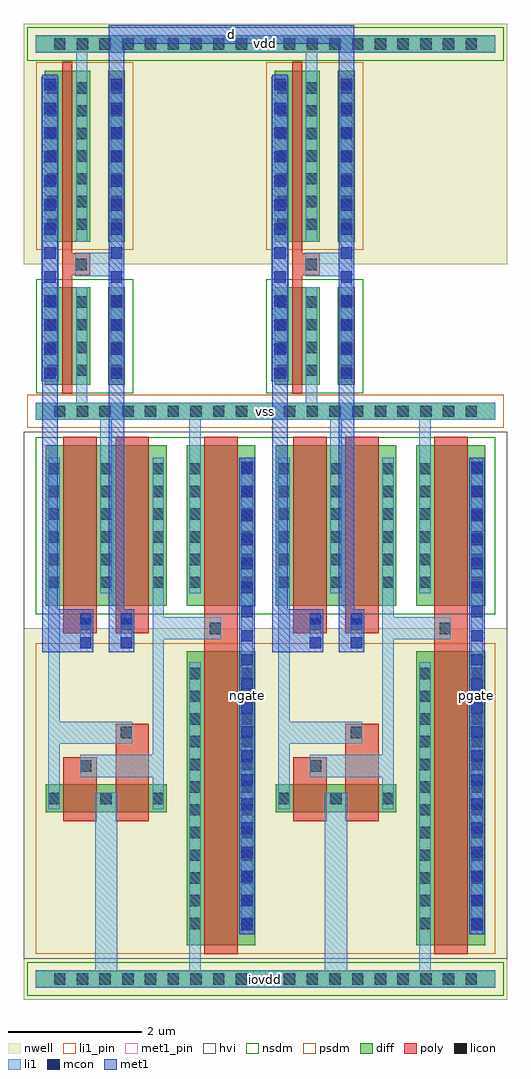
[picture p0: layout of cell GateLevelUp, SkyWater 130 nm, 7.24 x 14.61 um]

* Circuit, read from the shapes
.subckt GateLevelUp d iovdd ngate pgate vdd vss
XM1 vss d n1 VSUBS sky130_fd_pr__nfet_01v8 w=1.46 l=0.15
XM2 vss n1 n2 VSUBS sky130_fd_pr__nfet_g5v0d10v5 w=2.4 l=0.5
XM3 n3 d vss VSUBS sky130_fd_pr__nfet_g5v0d10v5 w=2.4 l=0.5
XM4 ngate n3 vss VSUBS sky130_fd_pr__nfet_g5v0d10v5 w=2.4 l=0.5
XM5 vss d n4 VSUBS sky130_fd_pr__nfet_01v8 w=1.46 l=0.15
XM6 vss n4 n5 VSUBS sky130_fd_pr__nfet_g5v0d10v5 w=2.4 l=0.5
XM7 n6 d vss VSUBS sky130_fd_pr__nfet_g5v0d10v5 w=2.4 l=0.5
XM8 pgate n6 vss VSUBS sky130_fd_pr__nfet_g5v0d10v5 w=2.4 l=0.5
XM9 vdd d n1 n7 sky130_fd_pr__pfet_01v8 w=2.56 l=0.15
XM10 iovdd n3 n2 n8 sky130_fd_pr__pfet_g5v0d10v5 w=0.42 l=0.5
XM11 n3 n2 iovdd n8 sky130_fd_pr__pfet_g5v0d10v5 w=0.42 l=0.5
XM12 ngate n3 iovdd n8 sky130_fd_pr__pfet_g5v0d10v5 w=4.4 l=0.5
XM13 vdd d n4 n7 sky130_fd_pr__pfet_01v8 w=2.56 l=0.15
XM14 iovdd n6 n5 n8 sky130_fd_pr__pfet_g5v0d10v5 w=0.42 l=0.5
XM15 n6 n5 iovdd n8 sky130_fd_pr__pfet_g5v0d10v5 w=0.42 l=0.5
XM16 pgate n6 iovdd n8 sky130_fd_pr__pfet_g5v0d10v5 w=4.4 l=0.5
.ends

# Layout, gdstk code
import gdstk
lib = gdstk.Library(unit=1e-6, precision=1e-09)
def R(c, l, rs):  # rectangles x0, y0, x1, y1
    for r in rs: c.add(gdstk.rectangle(r[:2], r[2:], *l))
def A(c, l, x, y, w, h, nx, ny, dx, dy):  # array of equal rectangles
    R(c, l, [(x+i*dx, y+j*dy, x+i*dx+w, y+j*dy+h) for i in range(nx) for j in range(ny)])
def P(c, l, *ps):  # polygons
    for p in ps: c.add(gdstk.Polygon(p, *l))
nwell = (64, 20)
diff = (65, 20)
poly = (66, 20)
licon = (66, 44)
li1_pin = (67, 16)
li1 = (67, 20)
mcon = (67, 44)
met1_pin = (68, 16)
met1 = (68, 20)
hvi = (75, 20)
nsdm = (93, 44)
psdm = (94, 20)

levelup = lib.new_cell('LevelUp')
R(levelup, nwell, [(-0.18,-0.305,3.62,5.25), (-0.18,10.7,3.62,14.305)])
R(levelup, diff, [(0,-0.125,3.44,0.125), (2.26,0.505,3.29,4.905), (0.15,2.495,1.96,2.915), (0.15,5.59,1.18,7.99), (1.09,5.59,1.8,7.99), (1.71,5.59,1.96,7.99), (2.26,5.59,3.29,7.99), (0,8.375,3.44,8.625), (0.135,8.895,0.815,10.355), (1.085,8.895,1.335,10.355), (0.135,11.04,0.815,13.6), (1.085,11.04,1.335,13.6), (0,13.875,3.44,14.125)])
R(levelup, poly, [(2.525,0.375,3.025,8.12), (0.415,2.365,0.915,3.325), (0.415,2.365,0.915,3.045), (1.195,2.365,1.695,3.825), (1.195,3.555,1.525,3.825), (0.415,5.18,0.915,8.12), (0.585,5.18,0.915,5.45), (1.195,5.18,1.525,5.45), (1.195,5.18,1.695,8.12), (0.415,5.46,0.915,8.12), (1.195,5.46,1.695,8.12)])
P(levelup, poly, [(0.4,8.765),(0.4,13.73),(0.55,13.73),(0.55,10.865),(0.815,10.865),(0.815,10.535),(0.55,10.535),(0.55,8.765)])
A(levelup, licon, 0.275, -0.085, 0.17, 0.17, 9, 2, 0.34, 8.5)
A(levelup, licon, 2.3, 0.75, 0.17, 0.17, 1, 12, 0, 0.34)
A(levelup, licon, 3.08, 0.75, 0.17, 0.17, 1, 12, 0, 0.34)
A(levelup, licon, 0.19, 2.62, 0.17, 0.17, 3, 2, 0.78, 3.235)
A(levelup, licon, 2.3, 5.855, 0.17, 0.17, 1, 6, 0, 0.34)
A(levelup, licon, 3.08, 5.855, 0.17, 0.17, 1, 6, 0, 0.34)
A(levelup, licon, 0.19, 6.195, 0.17, 0.17, 3, 5, 0.78, 0.34)
A(levelup, licon, 0.175, 9.03, 0.17, 0.17, 1, 4, 0, 0.34)
A(levelup, licon, 0.605, 9.03, 0.17, 0.17, 1, 4, 0, 0.34)
A(levelup, licon, 1.125, 9.03, 0.17, 0.17, 1, 4, 0, 0.34)
A(levelup, licon, 0.175, 11.215, 0.17, 0.17, 1, 7, 0, 0.34)
A(levelup, licon, 0.605, 11.215, 0.17, 0.17, 1, 7, 0, 0.34)
A(levelup, licon, 1.125, 11.215, 0.17, 0.17, 1, 7, 0, 0.34)
A(levelup, licon, 0.275, 13.915, 0.17, 0.17, 9, 1, 0.34, 0)
R(levelup, licon, [(0.665,3.105,0.835,3.275), (1.275,3.605,1.445,3.775), (2.605,5.165,2.775,5.335), (0.665,5.23,0.835,5.4), (1.275,5.23,1.445,5.4), (0.595,10.615,0.765,10.785)])
R(levelup, li1_pin, [(0,-0.13,3.44,0.13), (0,8.37,3.44,8.63), (0,13.87,3.44,14.13)])
R(levelup, li1, [(3.08,0.67,3.25,7.805), (0.665,3.025,0.835,3.355), (1.275,3.525,1.445,3.855), (0.665,4.95,0.835,5.48), (1.275,4.95,1.445,5.48), (1.275,5.15,1.445,5.48), (0.085,8.95,0.345,13.505)])
P(levelup, li1, [(0.605,11.04),(0.605,13.87),(0,13.87),(0,14.13),(3.44,14.13),(3.44,13.87),(0.775,13.87),(0.775,11.04)],
  [(0.97,5.775),(0.97,8.37),(0,8.37),(0,8.63),(0.605,8.63),(0.605,10.355),(0.775,10.355),(0.775,8.63),(3.44,8.63),(3.44,8.37),(2.47,8.37),(2.47,5.775),(2.3,5.775),(2.3,8.37),(1.14,8.37),(1.14,5.775)],
  [(1.125,8.95),(1.125,10.525),(0.595,10.525),(0.595,10.87),(1.125,10.87),(1.125,13.505),(1.295,13.505),(1.295,8.95)],
  [(0.19,2.54),(0.19,7.805),(0.36,7.805),(0.36,3.855),(1.445,3.855),(1.445,3.525),(0.36,3.525),(0.36,2.54)],
  [(0,-0.13),(0,0.13),(0.89,0.13),(0.89,2.79),(1.22,2.79),(1.22,0.13),(2.3,0.13),(2.3,4.74),(2.47,4.74),(2.47,0.13),(3.44,0.13),(3.44,-0.13)],
  [(1.75,2.54),(1.75,3.025),(0.665,3.025),(0.665,3.355),(1.75,3.355),(1.75,7.805),(1.92,7.805),(1.92,5.415),(2.775,5.415),(2.775,5.085),(1.92,5.085),(1.92,2.54)])
A(levelup, mcon, 3.08, 0.735, 0.17, 0.17, 1, 20, 0, 0.36)
A(levelup, mcon, 0.13, 8.985, 0.17, 0.17, 1, 13, 0, 0.36)
A(levelup, mcon, 1.125, 8.985, 0.17, 0.17, 1, 13, 0, 0.36)
R(levelup, mcon, [(0.665,4.95,0.835,5.12), (1.275,4.95,1.445,5.12), (0.665,5.31,0.835,5.48), (1.275,5.31,1.445,5.48)])
R(levelup, met1_pin, [(3.05,0.675,3.28,7.805), (1.095,8.925,1.325,13.535)])
R(levelup, met1, [(3.05,0.675,3.28,7.805)])
P(levelup, met1, [(0.1,4.89),(0.1,13.535),(0.33,13.535),(0.33,5.54),(0.865,5.54),(0.865,4.89)],
  [(1.095,4.89),(1.095,13.535),(1.325,13.535),(1.325,5.54),(1.475,5.54),(1.475,4.89)])
R(levelup, hvi, [(-0.18,0.305,3.62,8.195)])
R(levelup, nsdm, [(-0.125,-0.25,3.565,0.25), (0,5.465,3.44,8.115), (0.01,8.77,1.46,10.48), (-0.125,13.75,3.565,14.25)])
R(levelup, psdm, [(0,0.38,3.44,5.03), (-0.125,8.25,3.565,8.75), (0.01,10.915,1.46,13.725)])
levelup.add(gdstk.Label('i', (1.21,11.23), layer=68, texttype=16))
levelup.add(gdstk.Label('o', (3.165,4.24), layer=68, texttype=16))
levelup.add(gdstk.Label('vdd', (1.72,14), layer=67, texttype=16))
levelup.add(gdstk.Label('vss', (1.72,8.5), layer=67, texttype=16))
levelup.add(gdstk.Label('iovdd', (1.72,0), layer=67, texttype=16))

gatelevelup = lib.new_cell('GateLevelUp')
R(gatelevelup, li1_pin, [(0,-15.13,6.88,-14.87), (0,-6.63,6.88,-6.37), (0,-1.13,6.88,-0.87)])
R(gatelevelup, li1, [(0,-15.13,6.88,-14.87), (0,-6.63,6.88,-6.37), (0,-1.13,6.88,-0.87)])
R(gatelevelup, met1_pin, [(3.05,-14.325,3.28,-7.195), (6.49,-14.325,6.72,-7.195), (1.095,-1,4.765,-0.72)])
R(gatelevelup, met1, [(3.05,-14.325,3.28,-7.195), (6.49,-14.325,6.72,-7.195), (1.095,-6.075,1.325,-1), (4.535,-6.075,4.765,-1), (1.095,-1,4.765,-0.72)])
gatelevelup.add(gdstk.Reference(levelup, (0,-15)))
gatelevelup.add(gdstk.Reference(levelup, (3.44,-15)))
gatelevelup.add(gdstk.Label('d', (2.93,-0.86), layer=68, texttype=16))
gatelevelup.add(gdstk.Label('ngate', (3.165,-10.76), layer=68, texttype=16))
gatelevelup.add(gdstk.Label('pgate', (6.605,-10.76), layer=68, texttype=16))
gatelevelup.add(gdstk.Label('vss', (3.44,-6.5), layer=67, texttype=16))
gatelevelup.add(gdstk.Label('vdd', (3.44,-1), layer=67, texttype=16))
gatelevelup.add(gdstk.Label('iovdd', (3.44,-15), layer=67, texttype=16))

lib.write_gds('GateLevelUp.gds')
